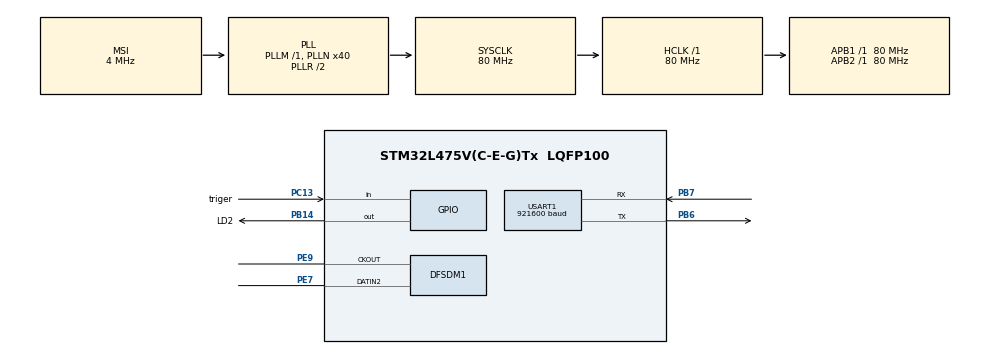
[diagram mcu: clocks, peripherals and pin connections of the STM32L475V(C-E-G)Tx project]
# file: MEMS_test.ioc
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DFSDM1.Divider=40
DFSDM1.DmaMode_reg_FIL0=ENABLE
DFSDM1.FastMode_reg_FIL0=ENABLE
DFSDM1.FilterOrder_CH2=DFSDM_CHANNEL_FASTSINC_ORDER
DFSDM1.Filter_regChannel_FIL0=DFSDM_CHANNEL_2
DFSDM1.Fosr_FIL0=250
DFSDM1.RightBitShift_CH2=0x0
DFSDM1.SincOrder_FIL0=DFSDM_FILTER_SINC3_ORDER
Dma.DFSDM1_FLT0.0.Direction=DMA_PERIPH_TO_MEMORY
Dma.DFSDM1_FLT0.0.Instance=DMA1_Channel4
Dma.DFSDM1_FLT0.0.MemDataAlignment=DMA_MDATAALIGN_WORD
Dma.DFSDM1_FLT0.0.MemInc=DMA_MINC_ENABLE
Dma.DFSDM1_FLT0.0.Mode=DMA_CIRCULAR
Dma.DFSDM1_FLT0.0.PeriphDataAlignment=DMA_PDATAALIGN_WORD
Dma.DFSDM1_FLT0.0.PeriphInc=DMA_PINC_DISABLE
Dma.DFSDM1_FLT0.0.Priority=DMA_PRIORITY_LOW
Dma.Request0=DFSDM1_FLT0
Dma.Request1=USART1_TX
Dma.USART1_TX.1.Direction=DMA_MEMORY_TO_PERIPH
Dma.USART1_TX.1.Instance=DMA2_Channel6
Dma.USART1_TX.1.MemDataAlignment=DMA_MDATAALIGN_BYTE
Dma.USART1_TX.1.MemInc=DMA_MINC_ENABLE
Dma.USART1_TX.1.Mode=DMA_NORMAL
Dma.USART1_TX.1.PeriphDataAlignment=DMA_PDATAALIGN_BYTE
Dma.USART1_TX.1.PeriphInc=DMA_PINC_DISABLE
Dma.USART1_TX.1.Priority=DMA_PRIORITY_LOW
Mcu.Family=STM32L4
Mcu.Name=STM32L475V(C-E-G)Tx
Mcu.Package=LQFP100
NVIC.DMA1_Channel4_IRQn=true\:0\:0\:false\:false\:true\:false\:true\:true
NVIC.DMA2_Channel6_IRQn=true\:0\:0\:false\:false\:true\:false\:true\:true
NVIC.PriorityGroup=NVIC_PRIORITYGROUP_4
NVIC.USART1_IRQn=true\:0\:0\:false\:false\:true\:true\:true\:true
PB14.GPIO_Label=LD2
PB14.GPIO_Speed=GPIO_SPEED_FREQ_MEDIUM
PB14.Signal=GPIO_Output
PB6.Mode=Asynchronous
PB6.Signal=USART1_TX
PB7.Mode=Asynchronous
PB7.Signal=USART1_RX
PC13.GPIO_Label=triger
PC13.Signal=GPIO_Input
PE7.Signal=S_DATAIN2DFSDM1
PE9.Signal=S_CKOUTDFSDM1
ProjectManager.HeapSize=0x200
ProjectManager.StackSize=0x400
ProjectManager.TargetToolchain=STM32CubeIDE
RCC.AHBFreq_Value=80000000
RCC.APB1Freq_Value=80000000
RCC.APB1TimFreq_Value=80000000
RCC.APB2Freq_Value=80000000
RCC.APB2TimFreq_Value=80000000
RCC.CortexFreq_Value=80000000
RCC.HCLKFreq_Value=80000000
RCC.HSE_VALUE=8000000
RCC.HSI_VALUE=16000000
RCC.LSE_VALUE=32768
RCC.MSI_VALUE=4000000
RCC.PLLN=40
RCC.SYSCLKFreq_VALUE=80000000
RCC.SYSCLKSource=RCC_SYSCLKSOURCE_PLLCLK
RCC.VCOOutputFreq_Value=160000000
SH.S_CKOUTDFSDM1.0=DFSDM1_CKOUT,PDM_SPI_input_from_ch2_and_internal_clock
SH.S_DATAIN2DFSDM1.0=DFSDM1_DATIN2,PDM_SPI_input_from_ch2_and_internal_clock
USART1.BaudRate=921600
USART1.VirtualMode-Asynchronous=VM_ASYNC
board=custom

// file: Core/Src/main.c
/* USER CODE BEGIN Header */
/**
  ******************************************************************************
  * @file           : main.c
  * @brief          : Main program body
  ******************************************************************************
  * @attention
  *
  * Copyright (c) 2024 STMicroelectronics.
  * All rights reserved.
  *
  * This software is licensed under terms that can be found in the LICENSE file
  * in the root directory of this software component.
  * If no LICENSE file comes with this software, it is provided AS-IS.
  *
  ******************************************************************************
  */
/* USER CODE END Header */
#include "main.h"

DFSDM_Filter_HandleTypeDef hdfsdm1_filter0;
DFSDM_Channel_HandleTypeDef hdfsdm1_channel2;
DMA_HandleTypeDef hdma_dfsdm1_flt0;

UART_HandleTypeDef huart1;
DMA_HandleTypeDef hdma_usart1_tx;

/* USER CODE BEGIN PV */
#define AUDIO_BUF 1024 //amount of budder samples
int i = 0;
int butt = 0;//gpio status storage
int32_t RecBuff [AUDIO_BUF]; //pdm data buffer
int32_t PlayBuff [AUDIO_BUF];//PCM data buffer
uint32_t DmaRecHalfBuffCplt =0;//mic halfdata sent
uint32_t DmaRecBuffCplt = 0;//mic transfer finished
int32_t trigger = (1u << 31)-1u;

/* USER CODE END PV */

void SystemClock_Config(void);
static void MX_GPIO_Init(void);
static void MX_DMA_Init(void);
static void MX_DFSDM1_Init(void);
static void MX_USART1_UART_Init(void);

/* USER CODE BEGIN 0 */
//funkcia na posielanie dat cez uart
void UART_DMA_Transmit(int32_t* pBuffer, uint16_t size)
{
    // Čakáme na dokončenie predchádzajúceho prenosu
    if (HAL_UART_GetState(&huart1) != HAL_UART_STATE_READY)
    {
        return;  // UART nie je pripravený, môže byť ešte aktívny iný prenos
    }

    // Spustenie prenosu cez DMA
    if (HAL_UART_Transmit_DMA(&huart1, (uint8_t*)pBuffer, size * sizeof(int32_t)) != HAL_OK)
    {
        Error_Handler(); // Funkcia na spracovanie chýb
    }
}

//void UART_Transmit(int32_t data) {
//	char buffer[4];
//	for (size_t i = 0; i < 4; ++i) {
//		buffer[0] = (data >> 24) & 0xFF;
//		buffer[1] = (data >> 16) & 0xFF;
//		buffer[2] = (data >> 8) & 0xFF;
//		buffer[3] = data & 0xFF;
//		HAL_UART_Transmit(&huart1, buffer[i], 4, HAL_MAX_DELAY);
		//HAL_Delay(1);
//		}
//	}
/* USER CODE END 0 */

int main(void)
{

  /* MCU Configuration--------------------------------------------------------*/

  /* Reset of all peripherals, Initializes the Flash interface and the Systick. */
  HAL_Init();

  /* Configure the system clock */
  SystemClock_Config();

  /* Initialize all configured peripherals */
  MX_GPIO_Init();
  MX_DMA_Init();
  MX_DFSDM1_Init();
  MX_USART1_UART_Init();
  /* USER CODE BEGIN 2 */
  HAL_DFSDM_FilterRegularStart_DMA (&hdfsdm1_filter0, (int32_t*) RecBuff, AUDIO_BUF);
  HAL_UART_Transmit_DMA(&huart1, (uint8_t*)PlayBuff, sizeof(PlayBuff));
  /* USER CODE END 2 */

  /* Infinite loop */
  while (1)
  {

    /* USER CODE BEGIN 3 */

	 		if (DmaRecHalfBuffCplt == 1) //processing of the first half of the buffer
	 		{
	 	  /*
	 	  Store values on Play buff */
	 		  for( i = 0; i < AUDIO_BUF/2; i++){
	 			  PlayBuff[i] = RecBuff [i] >> 8;//example of PCM data postprocessing
	 		  	  DmaRecHalfBuffCplt  = 0;
	 		  	  // Spustenie prenosu cez DMA pre prvú polovicu bufferu
	 		  	  HAL_UART_Transmit_DMA(&huart1, (uint8_t*)PlayBuff, (AUDIO_BUF/2) * sizeof(int32_t));
	 		  }
	 		}
	 		if (DmaRecBuffCplt == 1)//processing of the second half of the buffer
	 		{
	 			/* Store values on Play buff */
	 		  for( i = AUDIO_BUF/2; i < AUDIO_BUF; i++){
	 			  PlayBuff [i] = RecBuff [i] >> 8;//example of PCM data postprocessing
	 			  DmaRecBuffCplt  = 0;
	 			  ///prenos dat pre druhu polovicu
	 			  HAL_UART_Transmit_DMA(&huart1, (uint8_t*)PlayBuff, (AUDIO_BUF/2) * sizeof(int32_t));
	 			  }
	 		 HAL_UART_Transmit_DMA(&huart1, (uint8_t*)trigger, (1) * sizeof(int32_t));
	}

//	 HAL_GPIO_WritePin(GPIOB, GPIO_PIN_14, GPIO_PIN_RESET);

  }
  /* USER CODE END 3 */
}

void SystemClock_Config(void)
{
  RCC_OscInitTypeDef RCC_OscInitStruct = {0};
  RCC_ClkInitTypeDef RCC_ClkInitStruct = {0};

  /** Configure the main internal regulator output voltage
  */
  if (HAL_PWREx_ControlVoltageScaling(PWR_REGULATOR_VOLTAGE_SCALE1) != HAL_OK)
  {
    Error_Handler();
  }

  /** Initializes the RCC Oscillators according to the specified parameters
  * in the RCC_OscInitTypeDef structure.
  */
  RCC_OscInitStruct.OscillatorType = RCC_OSCILLATORTYPE_MSI;
  RCC_OscInitStruct.MSIState = RCC_MSI_ON;
  RCC_OscInitStruct.MSICalibrationValue = 0;
  RCC_OscInitStruct.MSIClockRange = RCC_MSIRANGE_6;
  RCC_OscInitStruct.PLL.PLLState = RCC_PLL_ON;
  RCC_OscInitStruct.PLL.PLLSource = RCC_PLLSOURCE_MSI;
  RCC_OscInitStruct.PLL.PLLM = 1;
  RCC_OscInitStruct.PLL.PLLN = 40;
  RCC_OscInitStruct.PLL.PLLP = RCC_PLLP_DIV7;
  RCC_OscInitStruct.PLL.PLLQ = RCC_PLLQ_DIV2;
  RCC_OscInitStruct.PLL.PLLR = RCC_PLLR_DIV2;
  if (HAL_RCC_OscConfig(&RCC_OscInitStruct) != HAL_OK)
  {
    Error_Handler();
  }

  /** Initializes the CPU, AHB and APB buses clocks
  */
  RCC_ClkInitStruct.ClockType = RCC_CLOCKTYPE_HCLK|RCC_CLOCKTYPE_SYSCLK
                              |RCC_CLOCKTYPE_PCLK1|RCC_CLOCKTYPE_PCLK2;
  RCC_ClkInitStruct.SYSCLKSource = RCC_SYSCLKSOURCE_PLLCLK;
  RCC_ClkInitStruct.AHBCLKDivider = RCC_SYSCLK_DIV1;
  RCC_ClkInitStruct.APB1CLKDivider = RCC_HCLK_DIV1;
  RCC_ClkInitStruct.APB2CLKDivider = RCC_HCLK_DIV1;

  if (HAL_RCC_ClockConfig(&RCC_ClkInitStruct, FLASH_LATENCY_4) != HAL_OK)
  {
    Error_Handler();
  }
}

static void MX_DFSDM1_Init(void)
{

  hdfsdm1_filter0.Instance = DFSDM1_Filter0;
  hdfsdm1_filter0.Init.RegularParam.Trigger = DFSDM_FILTER_SW_TRIGGER;
  hdfsdm1_filter0.Init.RegularParam.FastMode = ENABLE;
  hdfsdm1_filter0.Init.RegularParam.DmaMode = ENABLE;
  hdfsdm1_filter0.Init.FilterParam.SincOrder = DFSDM_FILTER_SINC3_ORDER;
  hdfsdm1_filter0.Init.FilterParam.Oversampling = 250;
  hdfsdm1_filter0.Init.FilterParam.IntOversampling = 1;
  if (HAL_DFSDM_FilterInit(&hdfsdm1_filter0) != HAL_OK)
  {
    Error_Handler();
  }
  hdfsdm1_channel2.Instance = DFSDM1_Channel2;
  hdfsdm1_channel2.Init.OutputClock.Activation = ENABLE;
  hdfsdm1_channel2.Init.OutputClock.Selection = DFSDM_CHANNEL_OUTPUT_CLOCK_SYSTEM;
  hdfsdm1_channel2.Init.OutputClock.Divider = 40;
  hdfsdm1_channel2.Init.Input.Multiplexer = DFSDM_CHANNEL_EXTERNAL_INPUTS;
  hdfsdm1_channel2.Init.Input.DataPacking = DFSDM_CHANNEL_STANDARD_MODE;
  hdfsdm1_channel2.Init.Input.Pins = DFSDM_CHANNEL_SAME_CHANNEL_PINS;
  hdfsdm1_channel2.Init.SerialInterface.Type = DFSDM_CHANNEL_SPI_RISING;
  hdfsdm1_channel2.Init.SerialInterface.SpiClock = DFSDM_CHANNEL_SPI_CLOCK_INTERNAL;
  hdfsdm1_channel2.Init.Awd.FilterOrder = DFSDM_CHANNEL_FASTSINC_ORDER;
  hdfsdm1_channel2.Init.Awd.Oversampling = 1;
  hdfsdm1_channel2.Init.Offset = 0;
  hdfsdm1_channel2.Init.RightBitShift = 0x0;
  if (HAL_DFSDM_ChannelInit(&hdfsdm1_channel2) != HAL_OK)
  {
    Error_Handler();
  }
  if (HAL_DFSDM_FilterConfigRegChannel(&hdfsdm1_filter0, DFSDM_CHANNEL_2, DFSDM_CONTINUOUS_CONV_ON) != HAL_OK)
  {
    Error_Handler();
  }

}

static void MX_USART1_UART_Init(void)
{

  huart1.Instance = USART1;
  huart1.Init.BaudRate = 921600;
  huart1.Init.WordLength = UART_WORDLENGTH_8B;
  huart1.Init.StopBits = UART_STOPBITS_1;
  huart1.Init.Parity = UART_PARITY_NONE;
  huart1.Init.Mode = UART_MODE_TX_RX;
  huart1.Init.HwFlowCtl = UART_HWCONTROL_NONE;
  huart1.Init.OverSampling = UART_OVERSAMPLING_16;
  huart1.Init.OneBitSampling = UART_ONE_BIT_SAMPLE_DISABLE;
  huart1.AdvancedInit.AdvFeatureInit = UART_ADVFEATURE_NO_INIT;
  if (HAL_UART_Init(&huart1) != HAL_OK)
  {
    Error_Handler();
  }

}

static void MX_DMA_Init(void)
{

  /* DMA controller clock enable */
  __HAL_RCC_DMA1_CLK_ENABLE();
  __HAL_RCC_DMA2_CLK_ENABLE();

  /* DMA interrupt init */
  /* DMA1_Channel4_IRQn interrupt configuration */
  HAL_NVIC_SetPriority(DMA1_Channel4_IRQn, 0, 0);
  HAL_NVIC_EnableIRQ(DMA1_Channel4_IRQn);
  /* DMA2_Channel6_IRQn interrupt configuration */
  HAL_NVIC_SetPriority(DMA2_Channel6_IRQn, 0, 0);
  HAL_NVIC_EnableIRQ(DMA2_Channel6_IRQn);

}

static void MX_GPIO_Init(void)
{
  GPIO_InitTypeDef GPIO_InitStruct = {0};

  /* GPIO Ports Clock Enable */
  __HAL_RCC_GPIOC_CLK_ENABLE();
  __HAL_RCC_GPIOE_CLK_ENABLE();
  __HAL_RCC_GPIOB_CLK_ENABLE();

  /*Configure GPIO pin Output Level */
  HAL_GPIO_WritePin(LD2_GPIO_Port, LD2_Pin, GPIO_PIN_RESET);

  /*Configure GPIO pin : triger_Pin */
  GPIO_InitStruct.Pin = triger_Pin;
  GPIO_InitStruct.Mode = GPIO_MODE_INPUT;
  GPIO_InitStruct.Pull = GPIO_NOPULL;
  HAL_GPIO_Init(triger_GPIO_Port, &GPIO_InitStruct);

  /*Configure GPIO pin : LD2_Pin */
  GPIO_InitStruct.Pin = LD2_Pin;
  GPIO_InitStruct.Mode = GPIO_MODE_OUTPUT_PP;
  GPIO_InitStruct.Pull = GPIO_NOPULL;
  GPIO_InitStruct.Speed = GPIO_SPEED_FREQ_MEDIUM;
  HAL_GPIO_Init(LD2_GPIO_Port, &GPIO_InitStruct);

}

/* USER CODE BEGIN 4 */
void
HAL_DFSDM_FilterRegConvHalfCpltCallback (DFSDM_Filter_HandleTypeDef *hdfsdm_filter)
{
DmaRecHalfBuffCplt = 1;
}
void
HAL_DFSDM_FilterRegConvCpltCallback (DFSDM_Filter_HandleTypeDef *hdfsdm_filter)
{
DmaRecBuffCplt = 1;
}
/* USER CODE END 4 */

void Error_Handler(void)
{
  __disable_irq();
  while (1)
  {
  }
}
